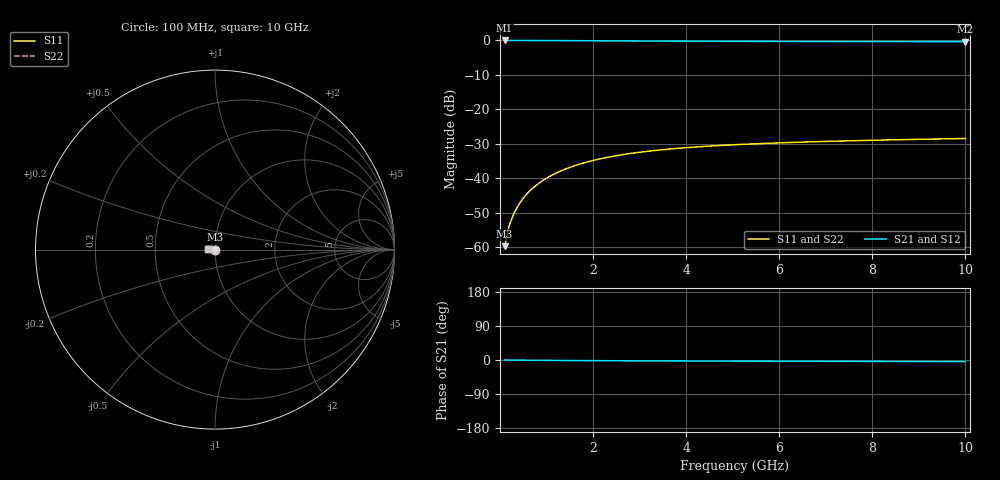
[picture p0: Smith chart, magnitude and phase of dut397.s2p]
! Touchstone file exported from HFSS 2024.1.0
!  File:  C:/UserFiles/LocalFiles/RDL_TSV_Batchsim/temp_TSV1_397_1779624486.aedt
!  Generated:  08:14:35 PM May 24, 2026
!  Design:  TSV1
!  Project:  temp_TSV1_397_1779624486
!  Setup:  Setup1
!  Solution:  Sweep
! Variables:
!  dtsv = 11.05um
!  hbump = 3um
!  htsv = 62.61um
!  lrdl = 252.1521522um
!  p = 40
!  p1 = 51.76um
!  t = 500um
!  trdl = 3um
!  wrdl = 24.89489489um
# GHz S MA R 50.000000
! Terminal data exported
! Port[1] = TSV22_T1
! Port[2] = TSV22_T2
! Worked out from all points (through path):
!   100 points, 100 MHz to 10 GHz, reference 50 ohm
!   highest |S21| = 0.00 dB at 100 MHz (marker M1); lowest = -0.3 dB at 10 GHz (marker M2)
!   lowest |S11| = -59.6 dB at 100 MHz (marker M3), VSWR 1.00, Z = 50 - j0.104 ohm
!   |S11| at or under -10 dB: start of sweep to end of sweep
!   |S22| runs from -59.6 to -28.4 dB; largest |S21 - S12| = 1.6e-14
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0.1  0.001044 -86.2  0.9999 -0.1  0.9999 -0.1  0.001044 -86.2
! Gamma 0 0 0 0
! Port Impedance 50 0 50 0
0.2  0.002081 -90.7  0.9997 -0.2  0.9997 -0.2  0.002081 -90.7
0.3  0.003118 -93.4  0.9996 -0.3  0.9996 -0.3  0.003118 -93.4
0.4  0.004152 -95.7  0.9993 -0.4  0.9993 -0.4  0.004152 -95.7
0.5  0.005177 -97.8  0.999 -0.5  0.999 -0.5  0.005177 -97.8
0.6  0.006191 -99.9  0.9986 -0.6  0.9986 -0.6  0.006191 -99.9
0.7  0.00719 -101.8  0.9982 -0.7  0.9982 -0.7  0.00719 -101.8
0.8  0.008173 -103.7  0.9977 -0.8  0.9977 -0.8  0.008173 -103.7
0.9  0.009137 -105.6  0.9972 -0.9  0.9972 -0.9  0.009137 -105.6
1.1  0.011 -109.2  0.996 -1.1  0.996 -1.1  0.011 -109.2
1.4  0.01363 -114.3  0.994 -1.3  0.994 -1.3  0.01363 -114.3
1.6  0.01526 -117.6  0.9926 -1.5  0.9926 -1.5  0.01526 -117.6
1.8  0.01679 -120.7  0.9911 -1.6  0.9911 -1.6  0.01679 -120.7
2.1  0.01889 -125.1  0.9888 -1.8  0.9888 -1.8  0.01889 -125.1
2.5  0.02136 -130.5  0.9858 -2.0  0.9858 -2.0  0.02136 -130.5
2.9  0.02349 -135.4  0.9829 -2.2  0.9829 -2.2  0.02349 -135.4
3.4  0.02573 -141.0  0.9797 -2.4  0.9797 -2.4  0.02573 -141.0
4.2  0.02856 -148.6  0.9752 -2.7  0.9752 -2.7  0.02856 -148.6
5.1  0.03095 -155.8  0.9713 -2.9  0.9713 -2.9  0.03095 -155.8
6.7  0.03396 -166.0  0.9663 -3.3  0.9663 -3.3  0.03396 -166.0
8.4  0.03622 -174.7  0.9628 -3.8  0.9628 -3.8  0.03622 -174.7
10  0.03792 178.5  0.9606 -4.2  0.9606 -4.2  0.03792 178.5
